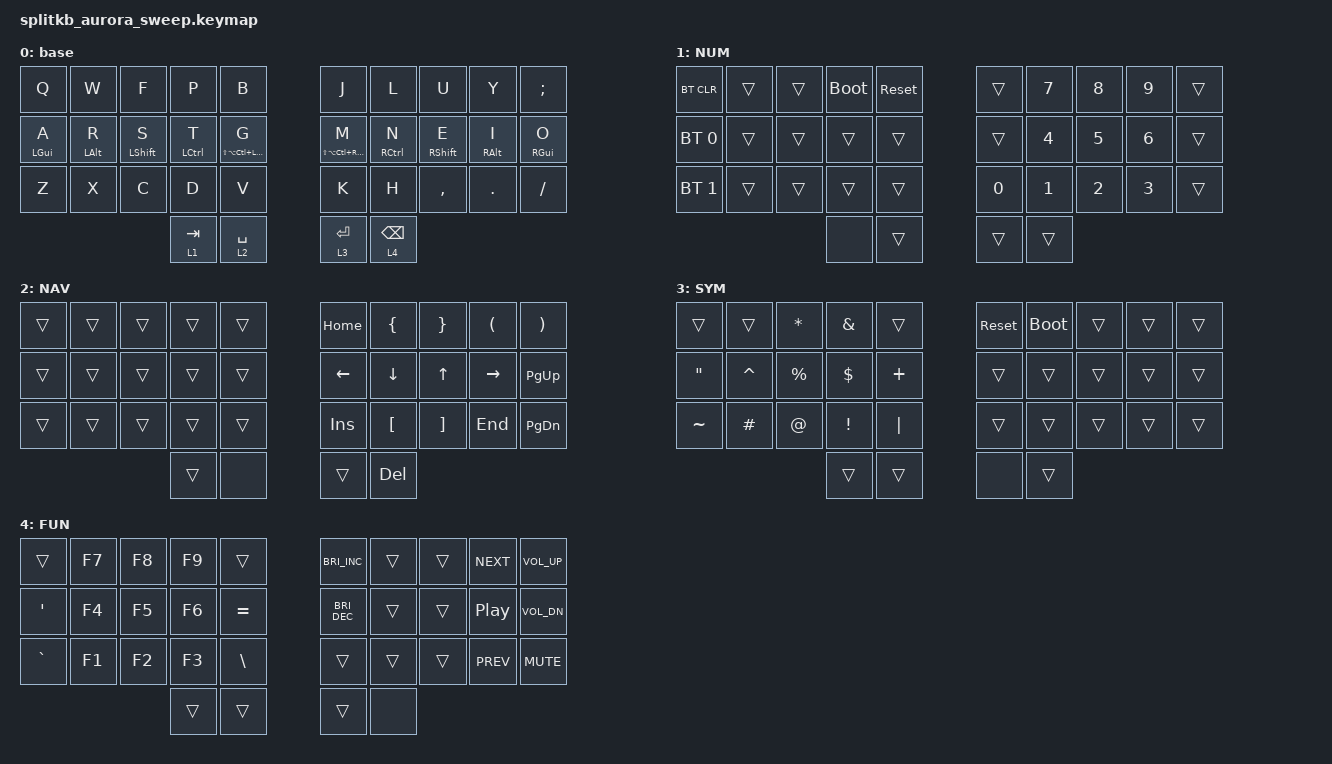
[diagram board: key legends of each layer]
/*
 * Copyright (c) 2022 The ZMK Contributors
 *
 * SPDX-License-Identifier: MIT
 */

#include <behaviors.dtsi>
#include <dt-bindings/zmk/bt.h>
#include <dt-bindings/zmk/keys.h>

&mt {
    //  flavor = "tap-preferred";
    // tapping-term-ms = <200>;

    flavor = "tap-preferred";
    tapping-term-ms = <200>;
    quick-tap-ms = <75>;
};

/ {
    combos {
        compatible = "zmk,combos";

        esc {
            bindings = <&kp ESC>;
            key-positions = <10 19>;
        };

        caps {
            bindings = <&caps_word>;
            key-positions = <20 29>;
        };

        minus {
            bindings = <&kp MINUS>;
            key-positions = <3 6>;
        };

        under {
            bindings = <&kp UNDER>;
            key-positions = <23 26>;
        };
    };

    keymap {
        compatible = "zmk,keymap";

        base {
            bindings = <
&kp Q           &kp W           &kp F             &kp P        &kp B                     &kp J                   &kp L        &kp U              &kp Y            &kp SEMICOLON
&mt LEFT_GUI A  &mt LEFT_ALT R  &mt LEFT_SHIFT S  &mt LCTRL T  &mt LS(LA(LC(LGUI))) G    &mt LS(LA(LC(RGUI))) M  &mt RCTRL N  &mt RIGHT_SHIFT E  &mt RIGHT_ALT I  &mt RIGHT_GUI O
&kp Z           &kp X           &kp C             &kp D        &kp V                     &kp K                   &kp H        &kp COMMA          &kp PERIOD       &kp SLASH
&lt 1 TAB       &lt 2 SPACE                                                                                                                      &lt 3 ENTER      &lt 4 BACKSPACE
            >;
        };

        NUM {
            bindings = <
&bt BT_CLR    &trans  &trans  &bootloader  &sys_reset    &trans  &kp N7  &kp N8  &kp N9  &trans
&bt BT_SEL 0  &trans  &trans  &trans       &trans        &trans  &kp N4  &kp N5  &kp N6  &trans
&bt BT_SEL 1  &trans  &trans  &trans       &trans        &kp N0  &kp N1  &kp N2  &kp N3  &trans
&none         &trans                                                             &trans  &trans
            >;
        };

        NAV {
            bindings = <
&trans  &trans  &trans  &trans  &trans    &kp HOME  &kp LEFT_BRACE  &kp RIGHT_BRACE  &kp LEFT_PARENTHESIS  &kp RIGHT_PARENTHESIS
&trans  &trans  &trans  &trans  &trans    &kp LEFT  &kp DOWN        &kp UP_ARROW     &kp RIGHT             &kp PAGE_UP
&trans  &trans  &trans  &trans  &trans    &kp INS   &kp LBKT        &kp RBKT         &kp END               &kp PAGE_DOWN
&trans  &none                                                                        &trans                &kp DEL
            >;
        };

        SYM {
            bindings = <
&trans     &trans     &kp STAR   &kp AMPS    &trans      &sys_reset  &bootloader  &trans  &trans  &trans
&kp DQT    &kp CARET  &kp PRCNT  &kp DOLLAR  &kp PLUS    &trans      &trans       &trans  &trans  &trans
&kp TILDE  &kp HASH   &kp AT     &kp EXCL    &kp PIPE    &trans      &trans       &trans  &trans  &trans
&trans     &trans                                                                         &none   &trans
            >;
        };

        FUN {
            bindings = <
&trans     &kp F7  &kp F8  &kp F9  &trans       &kp C_BRI_INC  &trans  &trans  &kp C_NEXT        &kp C_VOL_UP
&kp SQT    &kp F4  &kp F5  &kp F6  &kp EQUAL    &kp C_BRI_DEC  &trans  &trans  &kp C_PLAY_PAUSE  &kp C_VOL_DN
&kp GRAVE  &kp F1  &kp F2  &kp F3  &kp BSLH     &trans         &trans  &trans  &kp C_PREV        &kp C_MUTE
&trans     &trans                                                              &trans            &none
            >;
        };
    };
};
